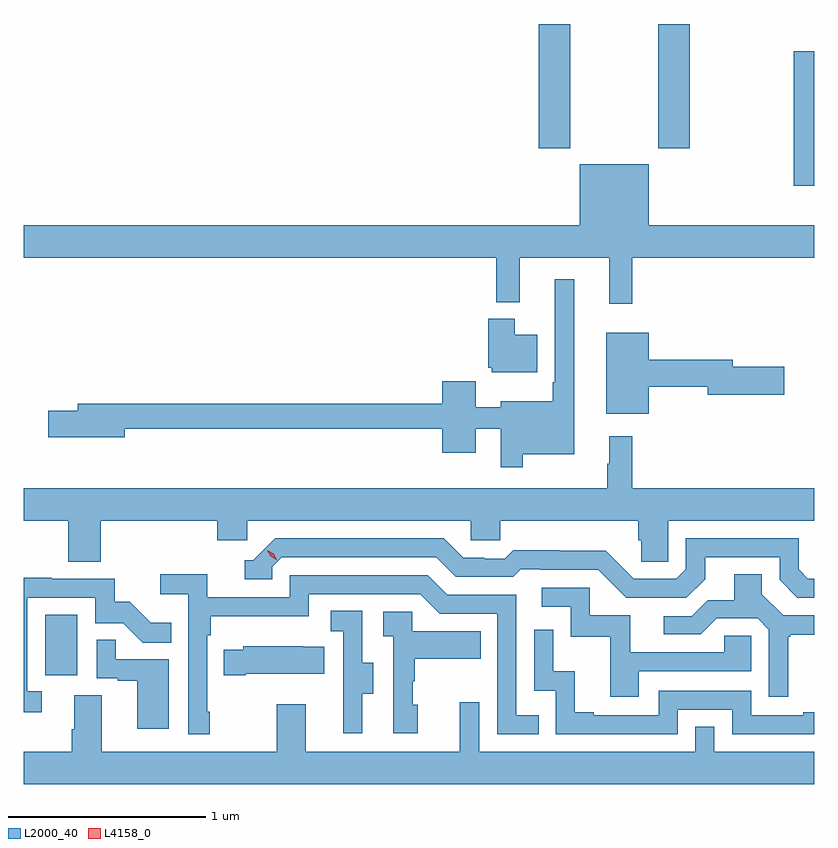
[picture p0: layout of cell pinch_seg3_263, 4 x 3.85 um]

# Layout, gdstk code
import gdstk
lib = gdstk.Library(unit=1e-6, precision=1e-09)
def R(c, l, rs):  # rectangles x0, y0, x1, y1
    for r in rs: c.add(gdstk.rectangle(r[:2], r[2:], *l))
def P(c, l, *ps):  # polygons
    for p in ps: c.add(gdstk.Polygon(p, *l))
L2000_40 = (2000, 40)
L4158_0 = (4158, 0)

pinch_seg3_263 = lib.new_cell('pinch_seg3_263')
R(pinch_seg3_263, L2000_40, [(908.798,724.11,908.962,724.417), (912.589,726.588,912.691,727.268), (911.297,726.777,911.457,727.407), (911.902,726.777,912.062,727.407)])
P(pinch_seg3_263, L2000_40, [(911.504,726.697),(911.504,726.388),(908.691,726.388),(908.691,726.224),(911.083,726.224),(911.083,725.999),(911.201,725.999),(911.201,726.224),(911.654,726.224),(911.654,725.991),(911.771,725.991),(911.771,726.224),(912.691,726.224),(912.691,726.388),(911.854,726.388),(911.854,726.697)],
  [(911.215,725.228),(911.476,725.228),(911.476,726.115),(911.379,726.115),(911.379,725.593),(911.367,725.593),(911.367,725.497),(911.105,725.497),(911.105,725.467),(910.978,725.467),(910.978,725.599),(910.808,725.599),(910.808,725.486),(908.963,725.486),(908.963,725.45),(908.814,725.45),(908.814,725.315),(909.202,725.315),(909.202,725.358),(910.808,725.358),(910.808,725.238),(910.978,725.238),(910.978,725.358),(911.106,725.358),(911.106,725.163),(911.215,725.163)],
  [(911.29,725.833),(911.176,725.833),(911.176,725.914),(911.042,725.914),(911.042,725.667),(911.058,725.667),(911.058,725.645),(911.29,725.645)],
  [(911.854,725.572),(912.152,725.572),(912.152,725.53),(912.541,725.53),(912.541,725.672),(912.28,725.672),(912.28,725.708),(911.854,725.708),(911.854,725.845),(911.639,725.845),(911.639,725.435),(911.854,725.435)],
  [(909.08,724.892),(909.671,724.892),(909.671,724.794),(909.822,724.794),(909.822,724.892),(910.953,724.892),(910.953,724.794),(911.103,724.794),(911.103,724.892),(911.801,724.892),(911.801,724.794),(911.815,724.794),(911.815,724.684),(911.952,724.684),(911.952,724.892),(912.691,724.892),(912.691,725.056),(911.771,725.056),(911.771,725.32),(911.654,725.32),(911.654,725.18),(911.643,725.18),(911.643,725.056),(908.691,725.056),(908.691,724.892),(908.915,724.892),(908.915,724.684),(909.08,724.684)],
  [(912.139,724.597),(912.139,724.707),(912.516,724.707),(912.516,724.593),(912.606,724.503),(912.691,724.503),(912.691,724.599),(912.66,724.599),(912.612,724.647),(912.612,724.803),(912.042,724.803),(912.042,724.647),(911.994,724.599),(911.778,724.599),(911.636,724.741),(911.4,724.741),(911.4,724.744),(911.167,724.744),(911.125,724.701),(911.022,724.701),(911.022,724.704),(910.915,724.704),(910.816,724.803),(909.963,724.803),(909.852,724.692),(909.809,724.692),(909.809,724.596),(909.948,724.596),(909.948,724.659),(909.996,724.707),(910.779,724.707),(910.878,724.608),(911.167,724.608),(911.206,724.647),(911.305,724.647),(911.305,724.644),(911.598,724.644),(911.739,724.503),(912.045,724.503)],
  [(912.559,724.305),(912.571,724.305),(912.571,724.316),(912.691,724.316),(912.691,724.413),(912.534,724.413),(912.427,724.52),(912.427,724.622),(912.287,724.622),(912.287,724.49),(912.152,724.49),(912.072,724.41),(911.931,724.41),(911.931,724.317),(912.118,724.317),(912.199,724.398),(912.405,724.398),(912.462,724.341),(912.462,724.002),(912.559,724.002)],
  [(909.631,723.925),(909.618,723.925),(909.618,724.313),(909.638,724.313),(909.638,724.409),(910.134,724.409),(910.134,724.521),(910.698,724.521),(910.797,724.422),(911.088,724.422),(911.088,723.813),(911.297,723.813),(911.297,723.909),(911.184,723.909),(911.184,724.518),(910.834,724.518),(910.735,724.617),(910.038,724.617),(910.038,724.506),(909.62,724.506),(909.62,724.622),(909.381,724.622),(909.381,724.52),(909.522,724.52),(909.522,723.813),(909.631,723.813)],
  [(908.782,724.029),(908.709,724.029),(908.709,724.503),(909.051,724.503),(909.051,724.374),(909.195,724.374),(909.293,724.276),(909.437,724.276),(909.437,724.375),(909.333,724.375),(909.226,724.482),(909.15,724.482),(909.15,724.599),(908.831,724.599),(908.831,724.604),(908.691,724.604),(908.691,723.924),(908.782,723.924)],
  [(911.803,724.131),(912.372,724.131),(912.372,724.311),(912.235,724.311),(912.235,724.227),(911.761,724.227),(911.761,724.413),(911.556,724.413),(911.556,724.554),(911.313,724.554),(911.313,724.458),(911.46,724.458),(911.46,724.305),(911.659,724.305),(911.659,724.002),(911.803,724.002)],
  [(910.405,724.018),(910.459,724.018),(910.459,724.173),(910.404,724.173),(910.404,724.436),(910.245,724.436),(910.245,724.333),(910.308,724.333),(910.308,724.029),(910.307,724.029),(910.307,723.816),(910.405,723.816)],
  [(910.684,723.96),(910.659,723.96),(910.659,724.079),(910.669,724.079),(910.669,724.193),(911.003,724.193),(911.003,724.333),(910.656,724.333),(910.656,724.431),(910.509,724.431),(910.509,724.307),(910.56,724.307),(910.56,723.816),(910.684,723.816)],
  [(912,723.936),(912.276,723.936),(912.276,723.813),(912.691,723.813),(912.691,723.922),(912.635,723.922),(912.635,723.909),(912.372,723.909),(912.372,724.032),(911.904,724.032),(911.904,723.909),(911.575,723.909),(911.575,723.922),(911.48,723.922),(911.48,724.13),(911.37,724.13),(911.37,724.342),(911.274,724.342),(911.274,724.032),(911.382,724.032),(911.382,723.813),(912,723.813)],
  [(909.424,724.191),(909.155,724.191),(909.155,724.289),(909.06,724.289),(909.06,724.095),(909.167,724.095),(909.167,724.083),(909.266,724.083),(909.266,723.84),(909.424,723.84)],
  [(909.814,724.118),(910.211,724.118),(910.211,724.255),(910.103,724.255),(910.103,724.258),(909.801,724.258),(909.801,724.24),(909.703,724.24),(909.703,724.111),(909.814,724.111)],
  [(912.691,723.724),(912.186,723.724),(912.186,723.851),(912.09,723.851),(912.09,723.724),(910.995,723.724),(910.995,723.973),(910.898,723.973),(910.898,723.724),(910.117,723.724),(910.117,723.964),(909.97,723.964),(909.97,723.724),(909.085,723.724),(909.085,724.01),(908.945,724.01),(908.945,723.836),(908.933,723.836),(908.933,723.724),(908.691,723.724),(908.691,723.56),(912.691,723.56)])
P(pinch_seg3_263, L4158_0, [(909.971,724.692),(909.94,724.712),(909.924,724.744),(909.924,724.744),(909.924,724.744),(909.955,724.725),(909.971,724.692),(909.971,724.692)])

lib.write_gds('pinch_seg3_263.gds')
